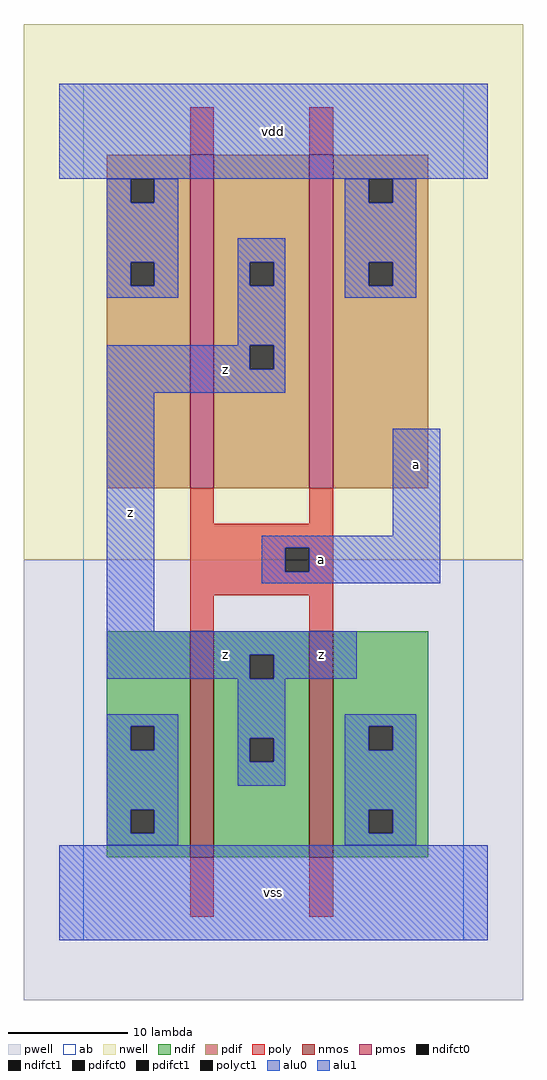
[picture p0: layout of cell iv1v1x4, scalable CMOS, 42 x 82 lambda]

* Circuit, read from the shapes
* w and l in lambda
.subckt iv1v1x4 a vdd vss z
M1 z a vss VSUBS nfet w=19 l=2 m=2
M2 z a vdd n1 pfet w=28 l=2 m=2
.ends

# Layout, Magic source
magic
tech scmos
<< ab >>
rect 0 0 32 72
<< nwell >>
rect -5 32 37 77
<< pwell >>
rect -5 -5 37 32
<< poly >>
rect 9 66 11 70
rect 19 66 21 70
rect 9 35 11 38
rect 19 35 21 38
rect 9 33 21 35
rect 9 31 17 33
rect 19 31 21 33
rect 9 29 21 31
rect 9 26 11 29
rect 19 26 21 29
rect 9 2 11 7
rect 19 2 21 7
<< ndif >>
rect 2 18 9 26
rect 2 16 4 18
rect 6 16 9 18
rect 2 11 9 16
rect 2 9 4 11
rect 6 9 9 11
rect 2 7 9 9
rect 11 24 19 26
rect 11 22 14 24
rect 16 22 19 24
rect 11 17 19 22
rect 11 15 14 17
rect 16 15 19 17
rect 11 7 19 15
rect 21 18 29 26
rect 21 16 24 18
rect 26 16 29 18
rect 21 11 29 16
rect 21 9 24 11
rect 26 9 29 11
rect 21 7 29 9
<< pdif >>
rect 2 64 9 66
rect 2 62 4 64
rect 6 62 9 64
rect 2 57 9 62
rect 2 55 4 57
rect 6 55 9 57
rect 2 38 9 55
rect 11 57 19 66
rect 11 55 14 57
rect 16 55 19 57
rect 11 50 19 55
rect 11 48 14 50
rect 16 48 19 50
rect 11 38 19 48
rect 21 64 29 66
rect 21 62 24 64
rect 26 62 29 64
rect 21 57 29 62
rect 21 55 24 57
rect 26 55 29 57
rect 21 38 29 55
<< alu1 >>
rect -2 64 34 72
rect 13 57 17 59
rect 13 55 14 57
rect 16 55 17 57
rect 13 50 17 55
rect 2 48 14 50
rect 16 48 17 50
rect 2 46 17 48
rect 2 26 6 46
rect 26 34 30 43
rect 15 33 30 34
rect 15 31 17 33
rect 19 31 30 33
rect 15 30 30 31
rect 2 24 23 26
rect 2 22 14 24
rect 16 22 23 24
rect 13 17 17 22
rect 13 15 14 17
rect 16 15 17 17
rect 13 13 17 15
rect -2 0 34 8
<< nmos >>
rect 9 7 11 26
rect 19 7 21 26
<< pmos >>
rect 9 38 11 66
rect 19 38 21 66
<< polyct1 >>
rect 17 31 19 33
<< ndifct0 >>
rect 4 16 6 18
rect 4 9 6 11
rect 24 16 26 18
rect 24 9 26 11
<< ndifct1 >>
rect 14 22 16 24
rect 14 15 16 17
<< pdifct0 >>
rect 4 62 6 64
rect 4 55 6 57
rect 24 62 26 64
rect 24 55 26 57
<< pdifct1 >>
rect 14 55 16 57
rect 14 48 16 50
<< alu0 >>
rect 2 62 4 64
rect 6 62 8 64
rect 2 57 8 62
rect 22 62 24 64
rect 26 62 28 64
rect 2 55 4 57
rect 6 55 8 57
rect 2 54 8 55
rect 22 57 28 62
rect 22 55 24 57
rect 26 55 28 57
rect 22 54 28 55
rect 2 18 8 19
rect 2 16 4 18
rect 6 16 8 18
rect 2 11 8 16
rect 22 18 28 19
rect 22 16 24 18
rect 26 16 28 18
rect 2 9 4 11
rect 6 9 8 11
rect 2 8 8 9
rect 22 11 28 16
rect 22 9 24 11
rect 26 9 28 11
rect 22 8 28 9
<< labels >>
rlabel alu1 4 36 4 36 6 z
rlabel alu1 12 24 12 24 6 z
rlabel alu1 12 48 12 48 6 z
rlabel alu1 16 4 16 4 6 vss
rlabel alu1 20 32 20 32 6 a
rlabel alu1 20 24 20 24 6 z
rlabel alu1 16 68 16 68 6 vdd
rlabel alu1 28 40 28 40 6 a
<< end >>
